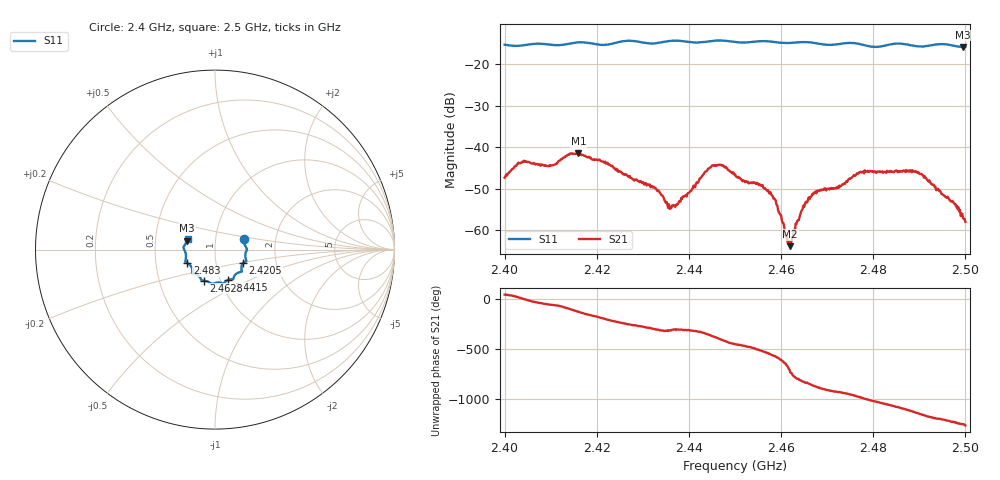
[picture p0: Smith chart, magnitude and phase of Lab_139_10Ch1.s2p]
# Hz S RI R
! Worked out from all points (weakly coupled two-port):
!   601 points, 2.4 GHz to 2.5 GHz, reference 50 ohm
!   highest |S21| = -41.45 dB at 2.416 GHz (marker M1); lowest = -63.9 dB at 2.462 GHz (marker M2)
!   lowest |S11| = -15.8 dB at 2.4995 GHz (marker M3), VSWR 1.39, Z = 36.4 + j3.78 ohm
!   |S11| at or under -10 dB: start of sweep to end of sweep
!   S12 and S22 are empty: the file has one direction only
!   S11 on the Smith chart (normalised r, x): 2.4 GHz: 1.38, +0.16; 2.4205 GHz: 1.35, -0.21; 2.4415 GHz: 1.09, -0.38; 2.4628 GHz: 0.83, -0.30; 2.483 GHz: 0.73, -0.11; 2.5 GHz: 0.73, +0.09
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2.4e9  0.1636 0.0574  0.0031 0.00297  0 0  0 0
2.403833e9  0.1688 0.0198  0.00663 0.000556  0 0  0 0
2.409833e9  0.1733 -0.00923  0.00327 -0.00515  0 0  0 0
2.416e9  0.1746 -0.0616  -0.00524 -0.00664  0 0  0 0
2.416667e9  0.1744 -0.0635  -0.00596 -0.0054  0 0  0 0
2.4205e9  0.1559 -0.0759  -0.0071 0.000401  0 0  0 0
2.433333e9  0.1073 -0.1472  0.00184 0.00239  0 0  0 0
2.436333e9  0.1024 -0.1641  0.00122 0.00156  0 0  0 0
2.4415e9  0.0736 -0.1687  0.00279 0.00227  0 0  0 0
2.445333e9  0.0495 -0.1871  0.00579 -0.00167  0 0  0 0
2.45e9  0.0302 -0.1845  -0.000165 -0.0047  0 0  0 0
2.457667e9  -0.0223 -0.1881  -0.0028 0.000649  0 0  0 0
2.462e9  -0.0554 -0.1736  0.000623 -0.000142  0 0  0 0
2.462833e9  -0.0621 -0.1729  0.000604 -0.000806  0 0  0 0
2.464833e9  -0.0723 -0.172  -0.000539 -0.0019  0 0  0 0
2.466667e9  -0.0768 -0.1673  -0.00203 -0.00165  0 0  0 0
2.477333e9  -0.1262 -0.1214  -0.000504 0.00502  0 0  0 0
2.483e9  -0.1542 -0.0752  0.00464 0.00235  0 0  0 0
2.483333e9  -0.1566 -0.0741  0.00465 0.00193  0 0  0 0
2.490333e9  -0.1628 -0.026  0.00152 -0.00452  0 0  0 0
2.4995e9  -0.1546 0.0505  -0.00137 -0.000196  0 0  0 0
2.5e9  -0.153 0.0573  -0.00125 9.45e-05  0 0  0 0
